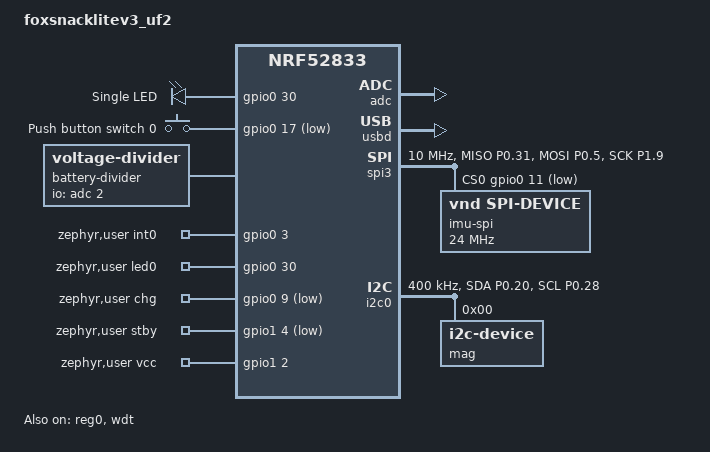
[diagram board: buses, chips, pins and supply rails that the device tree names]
/dts-v1/;
#include <nordic/nrf52833_qiaa.dtsi>

&pinctrl {
	spi3_default: spi3_default {
		group1 {
			psels = <NRF_PSEL(SPIM_MISO, 0, 31)>, // SDO
					<NRF_PSEL(SPIM_MOSI, 0, 5)>,  // SDA
					<NRF_PSEL(SPIM_SCK, 1, 9)>;   // SCL
		};
	};

	spi3_sleep: spi3_sleep {
		group1 {
			psels = <NRF_PSEL(SPIM_MISO, 0, 31)>,
					<NRF_PSEL(SPIM_MOSI, 0, 5)>,
					<NRF_PSEL(SPIM_SCK, 1, 9)>;
			low-power-enable;
		};
	};

	/*
	 * rev3 hardware has no external I2C pull-ups, and nrfx TWIM is
	 * initialized with skip_gpio_cfg (see i2c_nrfx_twim.c), so this
	 * internal pull-up is the only one on the bus. Do not remove.
	 */
	i2c0_default: i2c0_default {
		group1 {
			psels = <NRF_PSEL(TWIM_SDA, 0, 20)>,
					<NRF_PSEL(TWIM_SCL, 0, 28)>;
			bias-pull-up;
		};
	};

/*
	 * Sleep keeps both pins unpulled: the sensor rail is switched off
	 * (vcc-gpios) before suspend, and a pull-up would push current into
	 * the unpowered sensors through their ESD diodes.
	 */
	i2c0_sleep: i2c0_sleep {
		group1 {
			psels = <NRF_PSEL(TWIM_SDA, 0, 15)>,
					<NRF_PSEL(TWIM_SCL, 0, 13)>;
			bias-disable;
			low-power-enable;
		};
	};
};
//end

/ {
	model = "foxsnacklitev3_uf2";
	compatible = "foxsnacklitev3_uf2";

	chosen {
		zephyr,sram = &sram0;
		zephyr,flash = &flash0;
		zephyr,console = &cdc_acm_uart0;
		zephyr,shell-uart = &cdc_acm_uart0;
	};

	leds {
		compatible = "gpio-leds";
		led0: led_0 {
			gpios = <&gpio0 30 GPIO_ACTIVE_HIGH>;
			label = "Single LED";
		};
	};

	buttons {
		compatible = "gpio-keys";
		button0: button_0 {
			gpios = <&gpio0 17 (GPIO_PULL_UP | GPIO_ACTIVE_LOW)>;
			label = "Push button switch 0";
		};
	};

	aliases {
		sw0 = &button0;
		led0 = &led0;
	};

	battery-divider {
		compatible = "voltage-divider";
		status = "okay";
		io-channels = <&adc 2>; // P0.04 is AIN2 (Channel 2)
		output-ohms = <1000000>; // 1M ohm lower leg
		full-ohms = <2000000>;   // 1M + 1M total path
	};

	zephyr,user {
		int0-gpios = <&gpio0 3 0>; // IMU Interrupt on P0.03
		led0-gpios = <&gpio0 30 GPIO_ACTIVE_HIGH>;
		chg-gpios = <&gpio0 9 (GPIO_ACTIVE_LOW | GPIO_PULL_UP)>;
		stby-gpios = <&gpio1 4 (GPIO_ACTIVE_LOW | GPIO_PULL_UP)>;
		vcc-gpios = <&gpio1 2 0>;
	};
};

&reg0 {
	status = "okay";
};

&reg1 {
	regulator-initial-mode = <NRF5X_REG_MODE_LDO>;
};

&adc {
	status = "okay";
};

&gpiote {
	status = "okay";
};

&gpio0 {
	status = "okay";
};

&gpio1 {
	status = "okay";
};

zephyr_udc0: &usbd {
	compatible = "nordic,nrf-usbd";
	status = "okay";
	cdc_acm_uart0: cdc_acm_uart0 {
		compatible = "zephyr,cdc-acm-uart";
	};
};

&wdt {
	status = "okay";
};


&nfct {
	status = "disabled";
};

&uicr {
	nfct-pins-as-gpios;
};

&spi3 {
	compatible = "nordic,nrf-spim";
	status = "okay";
	max-frequency = <DT_FREQ_M(24)>;
	pinctrl-0 = <&spi3_default>;
	pinctrl-1 = <&spi3_sleep>;
	pinctrl-names = "default", "sleep";
	clock-frequency = <DT_FREQ_M(10)>;
	cs-gpios = <&gpio0 11 GPIO_ACTIVE_LOW>; // IMU CS on P0.11

	imu_spi: imu_spi@0 {
		status = "okay";
		compatible = "vnd,spi-device";
		spi-max-frequency = <DT_FREQ_M(24)>;
		label = "imu-spi";
		reg = <0>;
	};
};

&i2c0 {
	compatible = "nordic,nrf-twim";
	status = "okay";
	zephyr,concat-buf-size = <1023>;
	zephyr,flash-buf-max-size = <1023>;
	clock-frequency = <I2C_BITRATE_FAST>;
	pinctrl-0 = <&i2c0_default>;
	pinctrl-1 = <&i2c0_sleep>;
	pinctrl-names = "default", "sleep";

	mag: mag@0 {
		compatible = "i2c-device";
		label = "mag";
		reg = <0>;
	};
};
